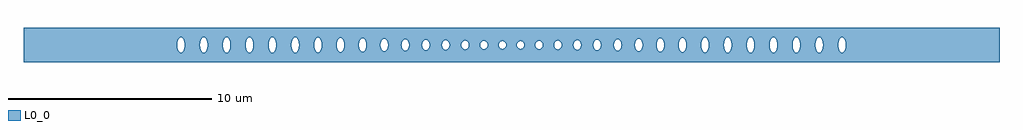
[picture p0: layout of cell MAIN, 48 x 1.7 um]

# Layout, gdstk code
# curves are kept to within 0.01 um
import gdstk
lib = gdstk.Library(unit=1e-6, precision=1e-09)
def P(c, l, *ps):  # polygons
    for p in ps: c.add(gdstk.Polygon(p, *l))
L0_0 = (0, 0)

main = lib.new_cell('MAIN')
P(main, L0_0, [(-16.291,-0.387),(-16.349,-0.345),(-16.403,-0.253),(-16.403,-0.85),(-16.291,-0.85)],
  [(-16.286,0.389),(-16.213,0.383),(-16.161,0.339),(-16.11,0.248),(-16.079,0.132),(-16.079,0.85),(-16.291,0.85)],
  [(-16.079,-0.132),(-16.11,-0.248),(-16.161,-0.339),(-16.229,-0.389),(-16.291,-0.387),(-16.291,-0.85),(-16.079,-0.85)],
  [(24,0.85),(16.403,0.85),(16.403,0.253),(16.447,0.028),(16.439,-0.116),(16.403,-0.253),(16.403,-0.85),(24,-0.85)],
  [(-15.222,0.347),(-15.156,0.391),(-15.089,0.383),(-15.032,0.333),(-14.986,0.248),(-14.986,0.85),(-15.227,0.85)],
  [(-14.986,-0.248),(-15.039,-0.342),(-15.094,-0.385),(-15.156,-0.391),(-15.227,-0.342),(-15.227,-0.85),(-14.986,-0.85)],
  [(-15.323,0.006),(-15.3,0.188),(-15.227,0.342),(-15.227,0.85),(-16.079,0.85),(-16.068,0)],
  [(-14.151,0.261),(-14.101,0.345),(-14.032,0.391),(-13.965,0.383),(-13.91,0.336),(-13.91,0.85),(-14.153,0.85)],
  [(-13.91,-0.336),(-13.965,-0.383),(-14.032,-0.391),(-14.101,-0.345),(-14.153,-0.257),(-14.153,-0.85),(-13.91,-0.85)],
  [(-14.198,0.006),(-14.188,0.132),(-14.153,0.257),(-14.153,0.85),(-14.986,0.85),(-14.986,0.248),(-14.952,0.116),(-14.944,0)],
  [(-13.06,0.147),(-13.027,0.261),(-12.972,0.35),(-12.908,0.391),(-12.846,0.385),(-12.846,0.85),(-13.061,0.85)],
  [(-12.846,-0.385),(-12.908,-0.391),(-12.972,-0.35),(-13.027,-0.261),(-13.061,-0.142),(-13.061,-0.85),(-12.846,-0.85)],
  [(-13.074,0.006),(-13.061,0.142),(-13.061,0.85),(-13.91,0.85),(-13.91,0.336),(-13.842,0.188),(-13.819,0)],
  [(-11.95,0.017),(-11.931,0.173),(-11.899,0.269),(-11.838,0.36),(-11.786,0.39),(-11.786,0.85),(-11.95,0.85)],
  [(-11.786,-0.39),(-11.852,-0.345),(-11.906,-0.253),(-11.942,-0.116),(-11.95,-0.011),(-11.95,-0.85),(-11.786,-0.85)],
  [(-11.781,0.391),(-11.716,0.383),(-11.657,0.33),(-11.608,0.235),(-11.579,0.116),(-11.579,0.85),(-11.786,0.85)],
  [(-11.579,-0.116),(-11.613,-0.248),(-11.666,-0.342),(-11.716,-0.383),(-11.786,-0.39),(-11.786,-0.85),(-11.579,-0.85)],
  [(-11.95,0.006),(-11.95,0.85),(-12.846,0.85),(-12.846,0.385),(-12.788,0.339),(-12.739,0.253),(-12.704,0.121),(-12.695,0)],
  [(-10.72,0.35),(-10.66,0.387),(-10.593,0.38),(-10.531,0.325),(-10.484,0.234),(-10.484,0.85),(-10.725,0.85)],
  [(-10.484,-0.234),(-10.531,-0.325),(-10.593,-0.38),(-10.66,-0.387),(-10.725,-0.345),(-10.725,-0.85),(-10.484,-0.85)],
  [(-10.826,0.006),(-10.796,0.211),(-10.725,0.345),(-10.725,0.85),(-11.579,0.85),(-11.571,0)],
  [(-9.652,0.266),(-9.601,0.34),(-9.532,0.378),(-9.472,0.369),(-9.405,0.307),(-9.405,0.85),(-9.654,0.85)],
  [(-9.405,-0.307),(-9.472,-0.369),(-9.538,-0.377),(-9.601,-0.34),(-9.654,-0.262),(-9.654,-0.85),(-9.405,-0.85)],
  [(-9.706,0.003),(-9.687,0.167),(-9.654,0.262),(-9.654,0.85),(-10.484,0.85),(-10.484,0.234),(-10.454,0.11),(-10.447,0)],
  [(-8.575,0.175),(-8.54,0.264),(-8.476,0.34),(-8.404,0.363),(-8.338,0.336),(-8.338,0.85),(-8.577,0.85)],
  [(-8.338,-0.336),(-8.404,-0.363),(-8.476,-0.34),(-8.54,-0.264),(-8.577,-0.17),(-8.577,-0.85),(-8.338,-0.85)],
  [(-8.599,0.005),(-8.577,0.17),(-8.577,0.85),(-9.405,0.85),(-9.405,0.307),(-9.348,0.175),(-9.327,0)],
  [(-7.503,0.098),(-7.474,0.205),(-7.416,0.298),(-7.35,0.339),(-7.282,0.335),(-7.282,0.85),(-7.504,0.85)],
  [(-7.282,-0.335),(-7.35,-0.339),(-7.416,-0.298),(-7.474,-0.205),(-7.504,-0.093),(-7.504,-0.85),(-7.282,-0.85)],
  [(-7.511,0.005),(-7.504,0.85),(-8.338,0.85),(-8.338,0.336),(-8.29,0.282),(-8.252,0.203),(-8.22,0)],
  [(-6.445,0.05),(-6.418,0.172),(-6.369,0.259),(-6.307,0.309),(-6.233,0.317),(-6.233,0.85),(-6.446,0.85)],
  [(-6.233,-0.317),(-6.307,-0.309),(-6.369,-0.259),(-6.418,-0.172),(-6.446,-0.045),(-6.446,-0.85),(-6.233,-0.85)],
  [(-6.447,0.005),(-6.446,0.85),(-7.282,0.85),(-7.282,0.335),(-7.225,0.295),(-7.173,0.213),(-7.139,0.093),(-7.132,0)],
  [(-5.409,0.036),(-5.385,0.15),(-5.328,0.245),(-5.271,0.285),(-5.191,0.291),(-5.191,0.85),(-5.41,0.85)],
  [(-5.191,-0.291),(-5.271,-0.285),(-5.328,-0.245),(-5.385,-0.15),(-5.41,-0.031),(-5.41,-0.85),(-5.191,-0.85)],
  [(-5.411,0.002),(-5.41,0.85),(-6.233,0.85),(-6.233,0.317),(-6.162,0.276),(-6.112,0.205),(-6.084,0.128),(-6.068,0)],
  [(-4.4,0.053),(-4.362,0.17),(-4.305,0.238),(-4.231,0.27),(-4.157,0.258),(-4.157,0.85),(-4.4,0.85)],
  [(-4.157,-0.258),(-4.237,-0.269),(-4.319,-0.226),(-4.375,-0.143),(-4.4,-0.048),(-4.4,-0.85),(-4.157,-0.85)],
  [(-4.403,0.002),(-4.4,0.85),(-5.191,0.85),(-5.191,0.291),(-5.124,0.254),(-5.081,0.199),(-5.045,0.109),(-5.032,0)],
  [(-3.407,0.105),(-3.355,0.192),(-3.286,0.239),(-3.205,0.245),(-3.125,0.201),(-3.125,0.85),(-3.408,0.85)],
  [(-3.125,-0.201),(-3.205,-0.245),(-3.286,-0.239),(-3.363,-0.183),(-3.408,-0.101),(-3.408,-0.85),(-3.125,-0.85)],
  [(-3.425,0.002),(-3.408,0.101),(-3.408,0.85),(-4.157,0.85),(-4.157,0.258),(-4.102,0.219),(-4.059,0.157),(-4.024,0)],
  [(-2.404,0.175),(-2.333,0.22),(-2.248,0.224),(-2.168,0.181),(-2.113,0.099),(-2.113,0.85),(-2.41,0.85)],
  [(-2.113,-0.099),(-2.168,-0.181),(-2.248,-0.224),(-2.333,-0.22),(-2.41,-0.17),(-2.41,-0.85),(-2.113,-0.85)],
  [(-2.473,0.004),(-2.453,0.103),(-2.41,0.17),(-2.41,0.85),(-3.125,0.85),(-3.125,0.201),(-3.07,0.123),(-3.046,0)],
  [(-1.546,0.004),(-1.537,0.065),(-1.504,0.133),(-1.448,0.185),(-1.382,0.209),(-1.382,0.85),(-2.113,0.85),(-2.113,0.099),(-2.094,0)],
  [(-0.633,0.044),(-0.596,0.126),(-0.518,0.187),(-0.429,0.2),(-0.341,0.166),(-0.341,0.85),(-0.634,0.85)],
  [(-0.341,-0.166),(-0.429,-0.2),(-0.518,-0.187),(-0.596,-0.126),(-0.634,-0.04),(-0.634,-0.85),(-0.341,-0.85)],
  [(-0.637,0.004),(-0.634,0.85),(-1.382,0.85),(-1.382,0.209),(-1.305,0.204),(-1.237,0.165),(-1.188,0.099),(-1.167,0)],
  [(0.348,0.17),(0.429,0.2),(0.518,0.187),(0.596,0.126),(0.634,0.04),(0.634,0.85),(0.341,0.85)],
  [(0.634,-0.04),(0.596,-0.126),(0.518,-0.187),(0.429,-0.2),(0.341,-0.166),(0.341,-0.85),(0.634,-0.85)],
  [(0.258,0.004),(0.281,0.096),(0.341,0.166),(0.341,0.85),(-0.341,0.85),(-0.341,0.166),(-0.281,0.096),(-0.258,0)],
  [(1.167,0.004),(1.188,0.099),(1.237,0.165),(1.305,0.204),(1.382,0.209),(1.382,0.85),(0.634,0.85),(0.637,0)],
  [(2.113,0.099),(2.168,0.181),(2.248,0.224),(2.333,0.22),(2.407,0.172),(2.407,0.85),(2.111,0.85)],
  [(2.407,-0.172),(2.333,-0.22),(2.248,-0.224),(2.168,-0.181),(2.111,-0.095),(2.111,-0.85),(2.407,-0.85)],
  [(2.094,0.004),(2.111,0.095),(2.111,0.85),(1.382,0.85),(1.382,0.209),(1.448,0.185),(1.504,0.133),(1.537,0.065),(1.546,0)],
  [(3.126,0.203),(3.2,0.244),(3.291,0.237),(3.359,0.188),(3.406,0.107),(3.406,0.85),(3.121,0.85)],
  [(3.406,-0.107),(3.359,-0.188),(3.288,-0.238),(3.2,-0.244),(3.121,-0.197),(3.121,-0.85),(3.406,-0.85)],
  [(3.046,0.002),(3.066,0.113),(3.121,0.197),(3.121,0.85),(2.407,0.85),(2.407,0.172),(2.453,0.103),(2.473,0)],
  [(4.159,0.259),(4.232,0.27),(4.312,0.232),(4.367,0.16),(4.399,0.055),(4.399,0.85),(4.152,0.85)],
  [(4.399,-0.055),(4.367,-0.16),(4.312,-0.232),(4.232,-0.27),(4.152,-0.256),(4.152,-0.85),(4.399,-0.85)],
  [(4.024,0.002),(4.058,0.155),(4.098,0.215),(4.152,0.256),(4.152,0.85),(3.406,0.85),(3.406,0.107),(3.425,0)],
  [(5.196,0.293),(5.276,0.283),(5.344,0.226),(5.393,0.127),(5.41,0.034),(5.41,0.85),(5.19,0.85)],
  [(5.41,-0.034),(5.387,-0.144),(5.334,-0.238),(5.267,-0.287),(5.19,-0.291),(5.19,-0.85),(5.41,-0.85)],
  [(5.032,0.002),(5.048,0.12),(5.076,0.19),(5.131,0.26),(5.19,0.291),(5.19,0.85),(4.399,0.85),(4.403,0)],
  [(6.239,0.318),(6.315,0.305),(6.383,0.241),(6.427,0.146),(6.446,0.045),(6.446,0.85),(6.233,0.85)],
  [(6.446,-0.045),(6.418,-0.172),(6.369,-0.259),(6.307,-0.309),(6.233,-0.317),(6.233,-0.85),(6.446,-0.85)],
  [(6.068,0.005),(6.084,0.128),(6.112,0.205),(6.162,0.276),(6.233,0.317),(6.233,0.85),(5.41,0.85),(5.411,0)],
  [(7.287,0.337),(7.35,0.339),(7.416,0.298),(7.474,0.205),(7.504,0.093),(7.504,0.85),(7.282,0.85)],
  [(7.504,-0.093),(7.474,-0.205),(7.416,-0.298),(7.35,-0.339),(7.282,-0.335),(7.282,-0.85),(7.504,-0.85)],
  [(7.132,0.005),(7.139,0.093),(7.173,0.213),(7.225,0.295),(7.282,0.335),(7.282,0.85),(6.446,0.85),(6.447,0)],
  [(8.341,0.338),(8.404,0.363),(8.476,0.34),(8.54,0.264),(8.575,0.175),(8.575,0.85),(8.336,0.85)],
  [(8.575,-0.175),(8.529,-0.282),(8.47,-0.344),(8.404,-0.363),(8.336,-0.334),(8.336,-0.85),(8.575,-0.85)],
  [(8.22,0.005),(8.252,0.203),(8.29,0.282),(8.336,0.334),(8.336,0.85),(7.504,0.85),(7.511,0)],
  [(9.406,0.308),(9.468,0.367),(9.525,0.379),(9.59,0.35),(9.651,0.268),(9.651,0.85),(9.402,0.85)],
  [(9.651,-0.268),(9.59,-0.35),(9.525,-0.379),(9.455,-0.359),(9.402,-0.302),(9.402,-0.85),(9.651,-0.85)],
  [(9.327,0.003),(9.346,0.167),(9.402,0.302),(9.402,0.85),(8.575,0.85),(8.575,0.175),(8.599,0)],
  [(10.484,0.234),(10.531,0.325),(10.593,0.38),(10.66,0.387),(10.722,0.347),(10.722,0.85),(10.483,0.85)],
  [(10.722,-0.347),(10.66,-0.387),(10.593,-0.38),(10.531,-0.325),(10.483,-0.229),(10.483,-0.85),(10.722,-0.85)],
  [(10.447,0.006),(10.483,0.229),(10.483,0.85),(9.651,0.85),(9.651,0.268),(9.691,0.15),(9.706,0)],
  [(11.58,0.121),(11.613,0.248),(11.666,0.342),(11.716,0.383),(11.786,0.39),(11.786,0.85),(11.579,0.85)],
  [(11.786,-0.39),(11.716,-0.383),(11.666,-0.342),(11.613,-0.248),(11.579,-0.116),(11.579,-0.85),(11.786,-0.85)],
  [(11.95,0.85),(11.786,0.85),(11.786,0.39),(11.852,0.345),(11.906,0.253),(11.942,0.116),(11.95,0.011)],
  [(11.95,-0.011),(11.942,-0.116),(11.906,-0.253),(11.852,-0.345),(11.786,-0.39),(11.786,-0.85),(11.95,-0.85)],
  [(11.571,0.006),(11.579,0.85),(10.722,0.85),(10.722,0.347),(10.796,0.211),(10.826,0)],
  [(12.851,0.387),(12.908,0.391),(12.979,0.342),(13.027,0.261),(13.061,0.142),(13.061,0.85),(12.846,0.85)],
  [(13.061,-0.142),(13.027,-0.261),(12.972,-0.35),(12.908,-0.391),(12.846,-0.385),(12.846,-0.85),(13.061,-0.85)],
  [(12.695,0.006),(12.704,0.121),(12.739,0.253),(12.788,0.339),(12.846,0.385),(12.846,0.85),(11.95,0.85),(11.95,0)],
  [(13.915,0.342),(13.965,0.383),(14.032,0.391),(14.101,0.345),(14.151,0.261),(14.151,0.85),(13.91,0.85)],
  [(14.151,-0.261),(14.101,-0.345),(14.032,-0.391),(13.965,-0.383),(13.91,-0.336),(13.91,-0.85),(14.151,-0.85)],
  [(13.819,0.006),(13.842,0.188),(13.91,0.336),(13.91,0.85),(13.061,0.85),(13.061,0.142),(13.074,0)],
  [(14.986,0.248),(15.032,0.333),(15.089,0.383),(15.156,0.391),(15.225,0.345),(15.225,0.85),(14.984,0.85)],
  [(15.225,-0.345),(15.156,-0.391),(15.089,-0.383),(15.032,-0.333),(14.984,-0.244),(14.984,-0.85),(15.225,-0.85)],
  [(14.944,0.006),(14.952,0.116),(14.984,0.244),(14.984,0.85),(14.151,0.85),(14.151,0.261),(14.188,0.132),(14.198,0)],
  [(16.079,0.132),(16.11,0.248),(16.161,0.339),(16.213,0.383),(16.288,0.388),(16.288,0.85),(16.078,0.85)],
  [(16.288,-0.388),(16.213,-0.383),(16.161,-0.339),(16.11,-0.248),(16.078,-0.126),(16.078,-0.85),(16.288,-0.85)],
  [(-16.403,-0.253),(-16.447,-0.028),(-16.439,0.116),(-16.403,0.253),(-16.403,0.85),(-24,0.85),(-24,-0.85),(-16.403,-0.85)],
  [(-16.401,0.257),(-16.349,0.345),(-16.291,0.387),(-16.291,0.85),(-16.403,0.85)],
  [(16.403,0.85),(16.288,0.85),(16.288,0.388),(16.349,0.345),(16.403,0.253)],
  [(16.403,-0.253),(16.349,-0.345),(16.288,-0.388),(16.288,-0.85),(16.403,-0.85)],
  [(-15.227,-0.342),(-15.3,-0.188),(-15.323,0),(-16.068,0),(-16.079,-0.85),(-15.227,-0.85)],
  [(-14.153,-0.257),(-14.188,-0.132),(-14.198,0),(-14.944,0),(-14.952,-0.116),(-14.986,-0.248),(-14.986,-0.85),(-14.153,-0.85)],
  [(-13.061,-0.142),(-13.074,0),(-13.819,0),(-13.842,-0.188),(-13.91,-0.336),(-13.91,-0.85),(-13.061,-0.85)],
  [(-11.95,-0.011),(-11.95,0),(-12.695,0),(-12.704,-0.121),(-12.739,-0.253),(-12.788,-0.339),(-12.846,-0.385),(-12.846,-0.85),(-11.95,-0.85)],
  [(-10.725,-0.345),(-10.796,-0.211),(-10.826,0),(-11.571,0),(-11.579,-0.85),(-10.725,-0.85)],
  [(-9.654,-0.262),(-9.696,-0.122),(-9.706,0),(-10.447,0),(-10.454,-0.11),(-10.484,-0.234),(-10.484,-0.85),(-9.654,-0.85)],
  [(-8.577,-0.17),(-8.599,0),(-9.327,0),(-9.348,-0.175),(-9.405,-0.307),(-9.405,-0.85),(-8.577,-0.85)],
  [(-7.504,-0.093),(-7.511,0),(-8.22,0),(-8.252,-0.203),(-8.29,-0.282),(-8.338,-0.336),(-8.338,-0.85),(-7.504,-0.85)],
  [(-6.446,-0.045),(-6.447,0),(-7.132,0),(-7.139,-0.093),(-7.173,-0.213),(-7.225,-0.295),(-7.282,-0.335),(-7.282,-0.85),(-6.446,-0.85)],
  [(-5.41,-0.031),(-5.411,0),(-6.068,0),(-6.084,-0.128),(-6.112,-0.205),(-6.162,-0.276),(-6.233,-0.317),(-6.233,-0.85),(-5.41,-0.85)],
  [(-4.4,-0.048),(-4.403,0),(-5.032,0),(-5.045,-0.109),(-5.081,-0.199),(-5.124,-0.254),(-5.191,-0.291),(-5.191,-0.85),(-4.4,-0.85)],
  [(-3.408,-0.101),(-3.425,0),(-4.024,0),(-4.059,-0.157),(-4.102,-0.219),(-4.157,-0.258),(-4.157,-0.85),(-3.408,-0.85)],
  [(-2.41,-0.17),(-2.459,-0.087),(-2.473,0),(-3.046,0),(-3.07,-0.123),(-3.125,-0.201),(-3.125,-0.85),(-2.41,-0.85)],
  [(-1.382,-0.209),(-1.448,-0.185),(-1.504,-0.133),(-1.537,-0.065),(-1.546,0),(-2.094,0),(-2.113,-0.099),(-2.113,-0.85),(-1.382,-0.85)],
  [(-0.634,-0.04),(-0.637,0),(-1.167,0),(-1.188,-0.099),(-1.237,-0.165),(-1.305,-0.204),(-1.382,-0.209),(-1.382,-0.85),(-0.634,-0.85)],
  [(0.341,-0.166),(0.281,-0.096),(0.258,0),(-0.258,0),(-0.279,-0.092),(-0.341,-0.166),(-0.341,-0.85),(0.341,-0.85)],
  [(1.382,-0.209),(1.305,-0.204),(1.237,-0.165),(1.188,-0.099),(1.167,0),(0.637,0),(0.634,-0.85),(1.382,-0.85)],
  [(2.111,-0.095),(2.094,0),(1.546,0),(1.537,-0.065),(1.504,-0.133),(1.448,-0.185),(1.382,-0.209),(1.382,-0.85),(2.111,-0.85)],
  [(3.121,-0.197),(3.066,-0.113),(3.046,0),(2.473,0),(2.453,-0.103),(2.407,-0.172),(2.407,-0.85),(3.121,-0.85)],
  [(4.152,-0.256),(4.098,-0.215),(4.058,-0.155),(4.024,0),(3.425,0),(3.406,-0.107),(3.406,-0.85),(4.152,-0.85)],
  [(5.19,-0.291),(5.131,-0.26),(5.076,-0.19),(5.048,-0.12),(5.032,0),(4.403,0),(4.399,-0.85),(5.19,-0.85)],
  [(6.233,-0.317),(6.162,-0.276),(6.112,-0.205),(6.084,-0.128),(6.068,0),(5.411,0),(5.41,-0.85),(6.233,-0.85)],
  [(7.282,-0.335),(7.225,-0.295),(7.173,-0.213),(7.139,-0.093),(7.132,0),(6.447,0),(6.446,-0.85),(7.282,-0.85)],
  [(8.336,-0.334),(8.29,-0.282),(8.252,-0.203),(8.22,0),(7.511,0),(7.504,-0.85),(8.336,-0.85)],
  [(9.402,-0.302),(9.346,-0.167),(9.327,0),(8.599,0),(8.575,-0.175),(8.575,-0.85),(9.402,-0.85)],
  [(10.483,-0.229),(10.454,-0.11),(10.447,0),(9.706,0),(9.691,-0.15),(9.651,-0.268),(9.651,-0.85),(10.483,-0.85)],
  [(11.579,-0.116),(11.571,0),(10.826,0),(10.796,-0.211),(10.722,-0.347),(10.722,-0.85),(11.579,-0.85)],
  [(12.846,-0.385),(12.788,-0.339),(12.739,-0.253),(12.704,-0.121),(12.695,0),(11.95,0),(11.95,-0.85),(12.846,-0.85)],
  [(13.91,-0.336),(13.842,-0.188),(13.819,0),(13.074,0),(13.061,-0.142),(13.061,-0.85),(13.91,-0.85)],
  [(14.984,-0.244),(14.951,-0.11),(14.944,0),(14.198,0),(14.188,-0.132),(14.151,-0.261),(14.151,-0.85),(14.984,-0.85)],
  [(16.078,-0.126),(16.068,0),(15.323,0),(15.3,-0.188),(15.225,-0.345),(15.225,-0.85),(16.078,-0.85)],
  [(16.068,0.006),(16.078,0.85),(15.225,0.85),(15.225,0.345),(15.3,0.188),(15.323,0)])

lib.write_gds('MAIN.gds')
